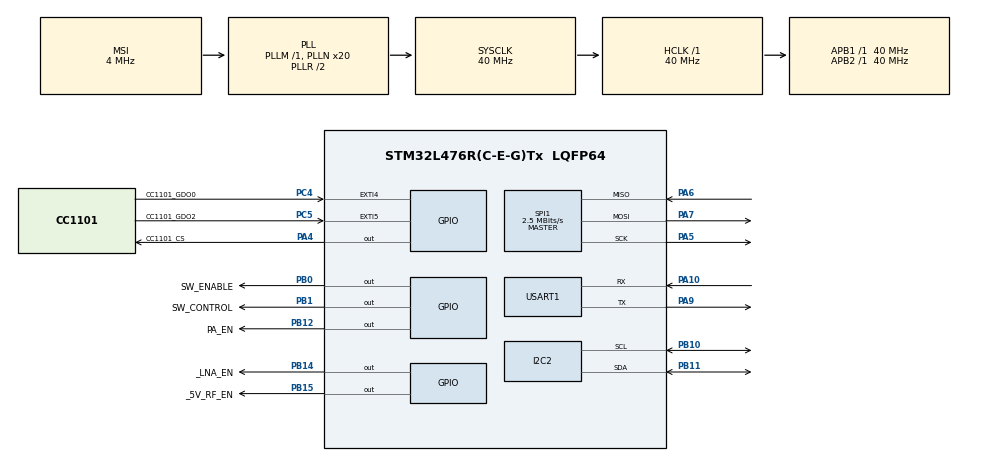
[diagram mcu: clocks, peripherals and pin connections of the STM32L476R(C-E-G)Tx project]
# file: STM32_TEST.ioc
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ADC1.Channel-52\#ChannelRegularConversion=ADC_CHANNEL_TEMPSENSOR
ADC1.Channel-53\#ChannelRegularConversion=ADC_CHANNEL_VBAT
ADC1.Channel-54\#ChannelRegularConversion=ADC_CHANNEL_VREFINT
ADC1.ClockPrescaler=ADC_CLOCK_ASYNC_DIV128
ADC1.ContinuousConvMode=DISABLE
ADC1.DMAContinuousRequests=DISABLE
ADC1.DataAlign=ADC_DATAALIGN_RIGHT
ADC1.DiscontinuousConvMode=DISABLE
ADC1.EOCSelection=ADC_EOC_SINGLE_CONV
ADC1.EnableAnalogWatchDog1=false
ADC1.EnableAnalogWatchDog2=false
ADC1.EnableAnalogWatchDog3=false
ADC1.EnableInjectedConversion=DISABLE
ADC1.EnableRegularConversion=ENABLE
ADC1.ExternalTrigConv=ADC_SOFTWARE_START
ADC1.ExternalTrigConvEdge=ADC_EXTERNALTRIGCONVEDGE_NONE
ADC1.LowPowerAutoWait=DISABLE
ADC1.NbrOfConversion=3
ADC1.NbrOfConversionFlag=1
ADC1.OffsetNumber-52\#ChannelRegularConversion=ADC_OFFSET_NONE
ADC1.OffsetNumber-53\#ChannelRegularConversion=ADC_OFFSET_NONE
ADC1.OffsetNumber-54\#ChannelRegularConversion=ADC_OFFSET_NONE
ADC1.Overrun=ADC_OVR_DATA_PRESERVED
ADC1.OversamplingMode=DISABLE
ADC1.Rank-52\#ChannelRegularConversion=1
ADC1.Rank-53\#ChannelRegularConversion=2
ADC1.Rank-54\#ChannelRegularConversion=3
ADC1.Resolution=ADC_RESOLUTION_12B
ADC1.SamplingTime-52\#ChannelRegularConversion=ADC_SAMPLETIME_640CYCLES_5
ADC1.SamplingTime-53\#ChannelRegularConversion=ADC_SAMPLETIME_640CYCLES_5
ADC1.SamplingTime-54\#ChannelRegularConversion=ADC_SAMPLETIME_640CYCLES_5
ADC1.ScanConvMode=ADC_SCAN_ENABLE
ADC1.master=1
Dma.ADC1.0.Direction=DMA_PERIPH_TO_MEMORY
Dma.ADC1.0.Instance=DMA1_Channel1
Dma.ADC1.0.MemDataAlignment=DMA_MDATAALIGN_HALFWORD
Dma.ADC1.0.MemInc=DMA_MINC_ENABLE
Dma.ADC1.0.Mode=DMA_NORMAL
Dma.ADC1.0.PeriphDataAlignment=DMA_PDATAALIGN_HALFWORD
Dma.ADC1.0.PeriphInc=DMA_PINC_DISABLE
Dma.ADC1.0.Priority=DMA_PRIORITY_LOW
Dma.Request0=ADC1
Dma.Request1=USART1_RX
Dma.Request2=USART1_TX
Dma.USART1_RX.1.Direction=DMA_PERIPH_TO_MEMORY
Dma.USART1_RX.1.Instance=DMA1_Channel5
Dma.USART1_RX.1.MemDataAlignment=DMA_MDATAALIGN_BYTE
Dma.USART1_RX.1.MemInc=DMA_MINC_ENABLE
Dma.USART1_RX.1.Mode=DMA_CIRCULAR
Dma.USART1_RX.1.PeriphDataAlignment=DMA_PDATAALIGN_BYTE
Dma.USART1_RX.1.PeriphInc=DMA_PINC_DISABLE
Dma.USART1_RX.1.Priority=DMA_PRIORITY_LOW
Dma.USART1_TX.2.Direction=DMA_MEMORY_TO_PERIPH
Dma.USART1_TX.2.Instance=DMA1_Channel4
Dma.USART1_TX.2.MemDataAlignment=DMA_MDATAALIGN_BYTE
Dma.USART1_TX.2.MemInc=DMA_MINC_ENABLE
Dma.USART1_TX.2.Mode=DMA_NORMAL
Dma.USART1_TX.2.PeriphDataAlignment=DMA_PDATAALIGN_BYTE
Dma.USART1_TX.2.PeriphInc=DMA_PINC_DISABLE
Dma.USART1_TX.2.Priority=DMA_PRIORITY_LOW
FREERTOS.INCLUDE_pcTaskGetTaskName=1
FREERTOS.INCLUDE_uxTaskGetStackHighWaterMark=1
FREERTOS.MEMORY_ALLOCATION=1
FREERTOS.Queues01=UartQueueTx,4096,uint8_t,NULL,Static,UartQueueTxBuffer,UartQueueTxControlBlock;UartQueueRx,4096,uint8_t,NULL,Static,UartQueueRxBuffer,UartQueueRxControlBlock
FREERTOS.Tasks01=ControlTask,0,512,ControlFunc,Default,NULL,Static,ControlTaskBuffer,ControlTaskControlBlock;CommsTask,2,1024,CommsFunc,Default,NULL,Static,CommsBuffer,CommsControlBlock;CommsTxTask,-1,256,CommsTxFunc,Default,NULL,Static,CommsTxBuffer,CommsTxControlBlock;InterfaceTask,2,512,InterfaceFunc,Default,NULL,Static,InterfaceBuffer,InterfaceControlBlock
FREERTOS.configGENERATE_RUN_TIME_STATS=0
FREERTOS.configLIBRARY_MAX_SYSCALL_INTERRUPT_PRIORITY=5
FREERTOS.configUSE_STATS_FORMATTING_FUNCTIONS=0
FREERTOS.configUSE_TICKLESS_IDLE=1
FREERTOS.configUSE_TRACE_FACILITY=0
I2C2.I2C_Fall_Time=0
I2C2.I2C_Rise_Time=0
I2C2.Speed=100
I2C2.Timing=0x00909BEB
Mcu.Family=STM32L4
Mcu.Name=STM32L476R(C-E-G)Tx
Mcu.Package=LQFP64
NVIC.DMA1_Channel1_IRQn=true\:5\:0\:false\:false\:true\:true
NVIC.DMA1_Channel4_IRQn=true\:5\:0\:false\:false\:true\:true
NVIC.DMA1_Channel5_IRQn=true\:5\:0\:false\:false\:true\:true
NVIC.EXTI4_IRQn=true\:10\:0\:true\:false\:true\:true
NVIC.EXTI9_5_IRQn=true\:10\:0\:true\:false\:true\:true
NVIC.PriorityGroup=NVIC_PRIORITYGROUP_4
NVIC.SPI1_IRQn=true\:5\:0\:true\:false\:true\:true
NVIC.TIM1_TRG_COM_TIM17_IRQn=true\:0\:0\:false\:false\:true\:false
NVIC.TimeBase=TIM1_TRG_COM_TIM17_IRQn
NVIC.TimeBaseIP=TIM17
NVIC.USART1_IRQn=true\:5\:0\:false\:false\:true\:true
PA10.Mode=Asynchronous
PA10.Signal=USART1_RX
PA4.GPIO_Label=CC1101_CS
PA4.PinState=GPIO_PIN_SET
PA4.Signal=GPIO_Output
PA5.Mode=Full_Duplex_Master
PA5.Signal=SPI1_SCK
PA6.Mode=Full_Duplex_Master
PA6.Signal=SPI1_MISO
PA7.Mode=Full_Duplex_Master
PA7.Signal=SPI1_MOSI
PA9.Mode=Asynchronous
PA9.Signal=USART1_TX
PB0.GPIO_Label=SW_ENABLE
PB0.PinState=GPIO_PIN_SET
PB0.Signal=GPIO_Output
PB1.GPIO_Label=SW_CONTROL
PB1.PinState=GPIO_PIN_SET
PB1.Signal=GPIO_Output
PB10.GPIO_PuPdOD=GPIO_PULLUP
PB10.Mode=I2C
PB10.Signal=I2C2_SCL
PB11.GPIO_PuPdOD=GPIO_PULLUP
PB11.Mode=I2C
PB11.Signal=I2C2_SDA
PB12.GPIO_Label=PA_EN
PB12.Signal=GPIO_Output
PB14.GPIO_Label=_LNA_EN
PB14.Signal=GPIO_Output
PB15.GPIO_Label=_5V_RF_EN
PB15.Signal=GPIO_Output
PC4.GPIO_Label=CC1101_GDO0
PC4.GPIO_ModeDefaultEXTI=GPIO_MODE_IT_RISING_FALLING
PC4.Signal=GPXTI4
PC5.GPIO_Label=CC1101_GDO2
PC5.GPIO_ModeDefaultEXTI=GPIO_MODE_IT_RISING_FALLING
PC5.Signal=GPXTI5
ProjectManager.HeapSize=0x200
ProjectManager.StackSize=0x400
ProjectManager.TargetToolchain=SW4STM32
RCC.ADCFreq_Value=32000000
RCC.AHBFreq_Value=40000000
RCC.APB1Freq_Value=40000000
RCC.APB1TimFreq_Value=40000000
RCC.APB2Freq_Value=40000000
RCC.APB2TimFreq_Value=40000000
RCC.CortexFreq_Value=40000000
RCC.HCLKFreq_Value=40000000
RCC.HSE_VALUE=8000000
RCC.HSI_VALUE=16000000
RCC.LSE_VALUE=32768
RCC.MSI_VALUE=4000000
RCC.PLLN=20
RCC.PLLSAI1N=16
RCC.SYSCLKFreq_VALUE=40000000
RCC.SYSCLKSource=RCC_SYSCLKSOURCE_PLLCLK
RCC.USBFreq_Value=32000000
RCC.VCOOutputFreq_Value=80000000
RCC.VDD_VALUE=3
SPI1.BaudRatePrescaler=SPI_BAUDRATEPRESCALER_16
SPI1.CalculateBaudRate=2.5 MBits/s
SPI1.DataSize=SPI_DATASIZE_8BIT
SPI1.Direction=SPI_DIRECTION_2LINES
SPI1.Mode=SPI_MODE_MASTER
SPI1.VirtualType=VM_MASTER
USART1.VirtualMode-Asynchronous=VM_ASYNC
USART1.WordLength=WORDLENGTH_8B
VP_ADC1_TempSens_Input.Mode=IN-TempSens
VP_ADC1_Vbat_Input.Mode=IN-Vbat
VP_ADC1_Vref_Input.Mode=IN-Vrefint
VP_FREERTOS_VS_ENABLE.Mode=Enabled
VP_SYS_VS_tim17.Mode=TIM17
board=STM32_TEST

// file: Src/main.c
/**
  ******************************************************************************
  * File Name          : main.c
  * Description        : Main program body
  ******************************************************************************
  * This notice applies to any and all portions of this file
  * that are not between comment pairs USER CODE BEGIN and
  * USER CODE END. Other portions of this file, whether
  * inserted by the user or by software development tools
  * are owned by their respective copyright owners.
  *
  * Copyright (c) 2017 STMicroelectronics International N.V.
  * All rights reserved.
  *
  * Redistribution and use in source and binary forms, with or without
  * modification, are permitted, provided that the following conditions are met:
  *
  * 1. Redistribution of source code must retain the above copyright notice,
  *    this list of conditions and the following disclaimer.
  * 2. Redistributions in binary form must reproduce the above copyright notice,
  *    this list of conditions and the following disclaimer in the documentation
  *    and/or other materials provided with the distribution.
  * 3. Neither the name of STMicroelectronics nor the names of other
  *    contributors to this software may be used to endorse or promote products
  *    derived from this software without specific written permission.
  * 4. This software, including modifications and/or derivative works of this
  *    software, must execute solely and exclusively on microcontroller or
  *    microprocessor devices manufactured by or for STMicroelectronics.
  * 5. Redistribution and use of this software other than as permitted under
  *    this license is void and will automatically terminate your rights under
  *    this license.
  *
  * THIS SOFTWARE IS PROVIDED BY STMICROELECTRONICS AND CONTRIBUTORS "AS IS"
  * AND ANY EXPRESS, IMPLIED OR STATUTORY WARRANTIES, INCLUDING, BUT NOT
  * LIMITED TO, THE IMPLIED WARRANTIES OF MERCHANTABILITY, FITNESS FOR A
  * PARTICULAR PURPOSE AND NON-INFRINGEMENT OF THIRD PARTY INTELLECTUAL PROPERTY
  * RIGHTS ARE DISCLAIMED TO THE FULLEST EXTENT PERMITTED BY LAW. IN NO EVENT
  * SHALL STMICROELECTRONICS OR CONTRIBUTORS BE LIABLE FOR ANY DIRECT, INDIRECT,
  * INCIDENTAL, SPECIAL, EXEMPLARY, OR CONSEQUENTIAL DAMAGES (INCLUDING, BUT NOT
  * LIMITED TO, PROCUREMENT OF SUBSTITUTE GOODS OR SERVICES; LOSS OF USE, DATA,
  * OR PROFITS; OR BUSINESS INTERRUPTION) HOWEVER CAUSED AND ON ANY THEORY OF
  * LIABILITY, WHETHER IN CONTRACT, STRICT LIABILITY, OR TORT (INCLUDING
  * NEGLIGENCE OR OTHERWISE) ARISING IN ANY WAY OUT OF THE USE OF THIS SOFTWARE,
  * EVEN IF ADVISED OF THE POSSIBILITY OF SUCH DAMAGE.
  *
  ******************************************************************************
  */
#include "main.h"
#include "stm32l4xx_hal.h"
#include "cmsis_os.h"
#include "adc.h"
#include "dma.h"
#include "i2c.h"
#include "spi.h"
#include "usart.h"
#include "gpio.h"

/* USER CODE BEGIN Includes */

#include "cc1101_routine.h"
#include "command_parser.h"
#include "utils.h"
#include "of_reed-solomon_gf_2_m.h"
#include "link_layer.h"
#include "simple_link.h"
#include "eeprom.h"
#include "housekeeping.h"

/* USER CODE END Includes */

/* USER CODE BEGIN PV */
/* Private variables ---------------------------------------------------------*/

/* USER CODE END PV */

void SystemClock_Config(void);
void MX_FREERTOS_Init(void);

/* USER CODE BEGIN PFP */
/* Private function prototypes -----------------------------------------------*/

/* USER CODE END PFP */

int main(void)
{

  /* MCU Configuration----------------------------------------------------------*/

  /* Reset of all peripherals, Initializes the Flash interface and the Systick. */
  HAL_Init();

  /* Configure the system clock */
  SystemClock_Config();

  /* Initialize all configured peripherals */
  MX_GPIO_Init();
  MX_DMA_Init();
  MX_SPI1_Init();
  MX_I2C2_Init();
  MX_ADC1_Init();
  MX_USART1_UART_Init();

  /* Call init function for freertos objects (in freertos.c) */
  MX_FREERTOS_Init();

  /* Start scheduler */
  osKernelStart();

  /* We should never get here as control is now taken by the scheduler */

  /* Infinite loop */
  while (1)
  {

  }

}

/** System Clock Configuration
*/
void SystemClock_Config(void)
{

  RCC_OscInitTypeDef RCC_OscInitStruct;
  RCC_ClkInitTypeDef RCC_ClkInitStruct;
  RCC_PeriphCLKInitTypeDef PeriphClkInit;

    /**Initializes the CPU, AHB and APB busses clocks
    */
  RCC_OscInitStruct.OscillatorType = RCC_OSCILLATORTYPE_MSI;
  RCC_OscInitStruct.MSIState = RCC_MSI_ON;
  RCC_OscInitStruct.MSICalibrationValue = 0;
  RCC_OscInitStruct.MSIClockRange = RCC_MSIRANGE_6;
  RCC_OscInitStruct.PLL.PLLState = RCC_PLL_ON;
  RCC_OscInitStruct.PLL.PLLSource = RCC_PLLSOURCE_MSI;
  RCC_OscInitStruct.PLL.PLLM = 1;
  RCC_OscInitStruct.PLL.PLLN = 20;
  RCC_OscInitStruct.PLL.PLLP = RCC_PLLP_DIV7;
  RCC_OscInitStruct.PLL.PLLQ = RCC_PLLQ_DIV2;
  RCC_OscInitStruct.PLL.PLLR = RCC_PLLR_DIV2;
  if (HAL_RCC_OscConfig(&RCC_OscInitStruct) != HAL_OK)
  {
    _Error_Handler(__FILE__, __LINE__);
  }

    /**Initializes the CPU, AHB and APB busses clocks
    */
  RCC_ClkInitStruct.ClockType = RCC_CLOCKTYPE_HCLK|RCC_CLOCKTYPE_SYSCLK
                              |RCC_CLOCKTYPE_PCLK1|RCC_CLOCKTYPE_PCLK2;
  RCC_ClkInitStruct.SYSCLKSource = RCC_SYSCLKSOURCE_PLLCLK;
  RCC_ClkInitStruct.AHBCLKDivider = RCC_SYSCLK_DIV1;
  RCC_ClkInitStruct.APB1CLKDivider = RCC_HCLK_DIV1;
  RCC_ClkInitStruct.APB2CLKDivider = RCC_HCLK_DIV1;

  if (HAL_RCC_ClockConfig(&RCC_ClkInitStruct, FLASH_LATENCY_2) != HAL_OK)
  {
    _Error_Handler(__FILE__, __LINE__);
  }

  PeriphClkInit.PeriphClockSelection = RCC_PERIPHCLK_USART1|RCC_PERIPHCLK_I2C2
                              |RCC_PERIPHCLK_ADC;
  PeriphClkInit.Usart1ClockSelection = RCC_USART1CLKSOURCE_PCLK2;
  PeriphClkInit.I2c2ClockSelection = RCC_I2C2CLKSOURCE_PCLK1;
  PeriphClkInit.AdcClockSelection = RCC_ADCCLKSOURCE_PLLSAI1;
  PeriphClkInit.PLLSAI1.PLLSAI1Source = RCC_PLLSOURCE_MSI;
  PeriphClkInit.PLLSAI1.PLLSAI1M = 1;
  PeriphClkInit.PLLSAI1.PLLSAI1N = 16;
  PeriphClkInit.PLLSAI1.PLLSAI1P = RCC_PLLP_DIV7;
  PeriphClkInit.PLLSAI1.PLLSAI1Q = RCC_PLLQ_DIV2;
  PeriphClkInit.PLLSAI1.PLLSAI1R = RCC_PLLR_DIV2;
  PeriphClkInit.PLLSAI1.PLLSAI1ClockOut = RCC_PLLSAI1_ADC1CLK;
  if (HAL_RCCEx_PeriphCLKConfig(&PeriphClkInit) != HAL_OK)
  {
    _Error_Handler(__FILE__, __LINE__);
  }

    /**Configure the main internal regulator output voltage
    */
  if (HAL_PWREx_ControlVoltageScaling(PWR_REGULATOR_VOLTAGE_SCALE1) != HAL_OK)
  {
    _Error_Handler(__FILE__, __LINE__);
  }

    /**Configure the Systick interrupt time
    */
  HAL_SYSTICK_Config(HAL_RCC_GetHCLKFreq()/1000);

    /**Configure the Systick
    */
  HAL_SYSTICK_CLKSourceConfig(SYSTICK_CLKSOURCE_HCLK);

  /* SysTick_IRQn interrupt configuration */
  HAL_NVIC_SetPriority(SysTick_IRQn, 15, 0);
}

void HAL_TIM_PeriodElapsedCallback(TIM_HandleTypeDef *htim)
{
  if (htim->Instance == TIM17) {
    HAL_IncTick();
  }
}

void _Error_Handler(char * file, int line)
{
  while(1)
  {
  }
}

/************************ (C) COPYRIGHT STMicroelectronics *****END OF FILE****/

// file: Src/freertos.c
/**
  ******************************************************************************
  * File Name          : freertos.c
  * Description        : Code for freertos applications
  ******************************************************************************
  * This notice applies to any and all portions of this file
  * that are not between comment pairs USER CODE BEGIN and
  * USER CODE END. Other portions of this file, whether
  * inserted by the user or by software development tools
  * are owned by their respective copyright owners.
  *
  * Copyright (c) 2017 STMicroelectronics International N.V.
  * All rights reserved.
  *
  * Redistribution and use in source and binary forms, with or without
  * modification, are permitted, provided that the following conditions are met:
  *
  * 1. Redistribution of source code must retain the above copyright notice,
  *    this list of conditions and the following disclaimer.
  * 2. Redistributions in binary form must reproduce the above copyright notice,
  *    this list of conditions and the following disclaimer in the documentation
  *    and/or other materials provided with the distribution.
  * 3. Neither the name of STMicroelectronics nor the names of other
  *    contributors to this software may be used to endorse or promote products
  *    derived from this software without specific written permission.
  * 4. This software, including modifications and/or derivative works of this
  *    software, must execute solely and exclusively on microcontroller or
  *    microprocessor devices manufactured by or for STMicroelectronics.
  * 5. Redistribution and use of this software other than as permitted under
  *    this license is void and will automatically terminate your rights under
  *    this license.
  *
  * THIS SOFTWARE IS PROVIDED BY STMICROELECTRONICS AND CONTRIBUTORS "AS IS"
  * AND ANY EXPRESS, IMPLIED OR STATUTORY WARRANTIES, INCLUDING, BUT NOT
  * LIMITED TO, THE IMPLIED WARRANTIES OF MERCHANTABILITY, FITNESS FOR A
  * PARTICULAR PURPOSE AND NON-INFRINGEMENT OF THIRD PARTY INTELLECTUAL PROPERTY
  * RIGHTS ARE DISCLAIMED TO THE FULLEST EXTENT PERMITTED BY LAW. IN NO EVENT
  * SHALL STMICROELECTRONICS OR CONTRIBUTORS BE LIABLE FOR ANY DIRECT, INDIRECT,
  * INCIDENTAL, SPECIAL, EXEMPLARY, OR CONSEQUENTIAL DAMAGES (INCLUDING, BUT NOT
  * LIMITED TO, PROCUREMENT OF SUBSTITUTE GOODS OR SERVICES; LOSS OF USE, DATA,
  * OR PROFITS; OR BUSINESS INTERRUPTION) HOWEVER CAUSED AND ON ANY THEORY OF
  * LIABILITY, WHETHER IN CONTRACT, STRICT LIABILITY, OR TORT (INCLUDING
  * NEGLIGENCE OR OTHERWISE) ARISING IN ANY WAY OUT OF THE USE OF THIS SOFTWARE,
  * EVEN IF ADVISED OF THE POSSIBILITY OF SUCH DAMAGE.
  *
  ******************************************************************************
  */

#include "FreeRTOS.h"
#include "task.h"
#include "cmsis_os.h"

/* USER CODE BEGIN Includes */

#include "cc1101_routine.h"
#include "command_parser.h"
#include "housekeeping.h"

#include <string.h>
#include <stdlib.h>

/* USER CODE END Includes */

osThreadId ControlTaskHandle;
uint32_t ControlTaskBuffer[ 256 ];
osStaticThreadDef_t ControlTaskControlBlock;

osThreadId CommsTaskHandle;
uint32_t CommsBuffer[ 768 ];
osStaticThreadDef_t CommsControlBlock;

osThreadId CommsTxTaskHandle;
uint32_t CommsTxBuffer[ 256 ];
osStaticThreadDef_t CommsTxControlBlock;

osThreadId InterfaceTaskHandle;
uint32_t InterfaceBuffer[ 256 ];
osStaticThreadDef_t InterfaceControlBlock;

osMessageQId UartQueueTxHandle;
uint8_t UartQueueTxBuffer[ 8192 * sizeof( uint8_t ) ];
osStaticMessageQDef_t UartQueueTxControlBlock;

osMessageQId UartQueueRxHandle;
uint8_t UartQueueRxBuffer[ 8192 * sizeof( uint8_t ) ];
osStaticMessageQDef_t UartQueueRxControlBlock;

/* USER CODE BEGIN Variables */
simple_link_packet_t LinkLayerRxBuffer[ 12 ];
osStaticMessageQDef_t LinkLayerRxControlBlock;
osMessageQId LinkLayerRxQueueHandle;

simple_link_packet_t RadioPacketTxBuffer[ 4 ];
osStaticMessageQDef_t RadioPacketTxControlBlock;
osMessageQId RadioPacketTxQueueHandle;

simple_link_packet_t ControlPacketBuffer[ 2 ];
osStaticMessageQDef_t ControlPacketControlBlock;
osMessageQId ControlPacketQueueHandle;

osStaticMutexDef_t SimpleLinkMutexControlBlock;
osMutexId SimpleLinkMutexHandle;

osThreadId 	tasks_ids[4];
uint32_t 	tasks_full_stack[4];

static simple_link_packet_t control_packet;
static comms_hk_data_t comms_data;

/* USER CODE END Variables */

void ControlFunc(void const * argument);
void CommsFunc(void const * argument);
void CommsTxFunc(void const * argument);
void InterfaceFunc(void const * argument);

void MX_FREERTOS_Init(void); /* (MISRA C 2004 rule 8.1) */

/* USER CODE BEGIN FunctionPrototypes */
static void GetModuleHKData(comms_hk_data_t *data);
/* USER CODE END FunctionPrototypes */

/* Pre/Post sleep processing prototypes */
void PreSleepProcessing(uint32_t *ulExpectedIdleTime);
void PostSleepProcessing(uint32_t *ulExpectedIdleTime);

/* GetIdleTaskMemory prototype (linked to static allocation support) */
void vApplicationGetIdleTaskMemory( StaticTask_t **ppxIdleTaskTCBBuffer, StackType_t **ppxIdleTaskStackBuffer, uint32_t *pulIdleTaskStackSize );

/* Hook prototypes */

/* USER CODE BEGIN PREPOSTSLEEP */
__weak void PreSleepProcessing(uint32_t *ulExpectedIdleTime)
{
/* place for user code */
}

__weak void PostSleepProcessing(uint32_t *ulExpectedIdleTime)
{
/* place for user code */
}
/* USER CODE END PREPOSTSLEEP */

/* USER CODE BEGIN GET_IDLE_TASK_MEMORY */
static StaticTask_t xIdleTaskTCBBuffer;
static StackType_t xIdleStack[configMINIMAL_STACK_SIZE];

void vApplicationGetIdleTaskMemory( StaticTask_t **ppxIdleTaskTCBBuffer, StackType_t **ppxIdleTaskStackBuffer, uint32_t *pulIdleTaskStackSize )
{
  *ppxIdleTaskTCBBuffer = &xIdleTaskTCBBuffer;
  *ppxIdleTaskStackBuffer = &xIdleStack[0];
  *pulIdleTaskStackSize = configMINIMAL_STACK_SIZE;
  /* place for user code */
}
/* USER CODE END GET_IDLE_TASK_MEMORY */

/* Init FreeRTOS */

void MX_FREERTOS_Init(void) {

  /* USER CODE BEGIN RTOS_MUTEX */
  /* add mutexes, ... */
  osMutexStaticDef(SimpleLinkMutex, &SimpleLinkMutexControlBlock);
  SimpleLinkMutexHandle = osMutexCreate(osMutex(SimpleLinkMutex));
  /* USER CODE END RTOS_MUTEX */

  /* Create the thread(s) */
  /* definition and creation of ControlTask */
  osThreadStaticDef(ControlTask, ControlFunc, osPriorityNormal, 0, 256, ControlTaskBuffer, &ControlTaskControlBlock);
  ControlTaskHandle = osThreadCreate(osThread(ControlTask), NULL);

  /* definition and creation of CommsTask */
  osThreadStaticDef(CommsTask, CommsFunc, osPriorityHigh, 0, 768, CommsBuffer, &CommsControlBlock);
  CommsTaskHandle = osThreadCreate(osThread(CommsTask), NULL);

  /* definition and creation of CommsTxTask */
  osThreadStaticDef(CommsTxTask, CommsTxFunc, osPriorityBelowNormal, 0, 256, CommsTxBuffer, &CommsTxControlBlock);
  CommsTxTaskHandle = osThreadCreate(osThread(CommsTxTask), NULL);

  /* definition and creation of InterfaceTask */
  osThreadStaticDef(InterfaceTask, InterfaceFunc, osPriorityHigh, 0, 256, InterfaceBuffer, &InterfaceControlBlock);
  InterfaceTaskHandle = osThreadCreate(osThread(InterfaceTask), NULL);

  /* Create the queue(s) */
  /* definition and creation of UartQueueTx */
  osMessageQStaticDef(UartQueueTx, 4096, uint8_t, UartQueueTxBuffer, &UartQueueTxControlBlock);
  UartQueueTxHandle = osMessageCreate(osMessageQ(UartQueueTx), NULL);

  /* definition and creation of UartQueueRx */
  osMessageQStaticDef(UartQueueRx, 4096, uint8_t, UartQueueRxBuffer, &UartQueueRxControlBlock);
  UartQueueRxHandle = osMessageCreate(osMessageQ(UartQueueRx), NULL);

  /* USER CODE BEGIN RTOS_QUEUES */
  /* add queues, ... */

  osMessageQStaticDef(linkrxqueue, 6, simple_link_packet_t, LinkLayerRxBuffer, &LinkLayerRxControlBlock);
  LinkLayerRxQueueHandle = osMessageCreate(osMessageQ(linkrxqueue), NULL);

  osMessageQStaticDef(radiotxqueue, 2, simple_link_packet_t, RadioPacketTxBuffer, &RadioPacketTxControlBlock);
  RadioPacketTxQueueHandle = osMessageCreate(osMessageQ(radiotxqueue), NULL);

  osMessageQStaticDef(controlqueue, 2, simple_link_packet_t, ControlPacketBuffer, &ControlPacketControlBlock);
  ControlPacketQueueHandle = osMessageCreate(osMessageQ(controlqueue), NULL);

  initialize_rs_coder();
  initialize_cc1101();
  usart_init_rx();
  usart_init_tx();
  /* USER CODE END RTOS_QUEUES */
}

/* ControlFunc function */
void ControlFunc(void const * argument)
{

  /* USER CODE BEGIN ControlFunc */
  /* Infinite loop */

	int ret;
	check_for_printf_buffer();

	tasks_ids[0] = ControlTaskHandle;
	tasks_ids[1] = CommsTaskHandle;
	tasks_ids[2] = CommsTxTaskHandle;
	tasks_ids[3] = InterfaceTaskHandle;

	tasks_full_stack[0] = (sizeof(ControlTaskBuffer)/sizeof(uint32_t));
	tasks_full_stack[1] = (sizeof(CommsBuffer)/sizeof(uint32_t));
	tasks_full_stack[2] = (sizeof(CommsTxBuffer)/sizeof(uint32_t));
	tasks_full_stack[3] = (sizeof(InterfaceBuffer)/sizeof(uint32_t));

	init_housekeeping();
	/* Just OSDelay here to set all variables up */
	osDelay(1);
	for(;;) {
		if (xQueueReceive(ControlPacketQueueHandle, &control_packet, 5000) == pdTRUE) {
			/* Control packet asks for GetModuleHKData */
			GetModuleHKData(&comms_data);
			ret = set_simple_link_packet(&comms_data, sizeof(comms_data), configuration_frame, 0, &control_packet);
			send_kiss_packet(0, &control_packet, ret);
		}
	}
  /* USER CODE END ControlFunc */
}

/* CommsFunc function */
void CommsFunc(void const * argument)
{
  /* USER CODE BEGIN CommsFunc */
  /* Infinite loop */
	check_for_printf_buffer();
    osDelay(1);
    cc1101_work();
  /* USER CODE END CommsFunc */
}

/* CommsTxFunc function */
void CommsTxFunc(void const * argument)
{
  /* USER CODE BEGIN CommsTxFunc */
  /* Infinite loop */
	check_for_printf_buffer();
	osDelay(1);
	csma_tx_work();
  /* USER CODE END CommsTxFunc */
}

/* InterfaceFunc function */
void InterfaceFunc(void const * argument)
{
  /* USER CODE BEGIN InterfaceFunc */
  /* Infinite loop */
	check_for_printf_buffer();
    osDelay(1);
    usart_work();
  /* USER CODE END InterfaceFunc */
}

/* USER CODE BEGIN Application */

void ReturnHKData(comms_hk_data_t *data)
{
	taskENTER_CRITICAL();
	memcpy(data, &comms_data, sizeof(comms_hk_data_t));
	taskEXIT_CRITICAL();
}

void GetModuleHKData(comms_hk_data_t *data)
{
	int i;
	cc1101_external_info_t cc1101_info;

	refresh_housekeeping();
	data->housekeeping.ext_temp = convert_temp_f_u16(get_external_temperature());
	data->housekeeping.int_temp = convert_temp_f_u16(get_internal_temperature());
	for (i = 0; i < 4; i++) {
			data->control.free_stack[i] = uxTaskGetStackHighWaterMark(tasks_ids[i]);
		}
	for (i = 0; i < 4; i++) {
		data->control.used_stack[i] = tasks_full_stack[i] - data->control.free_stack[i];
	}
	taskENTER_CRITICAL();
	data->housekeeping.ll_rx_packets = link_layer_info.decoded_packets;
	data->housekeeping.ll_tx_packets = link_layer_info.encoded_packets;
	get_cc1101_statistics(&cc1101_info);
	taskEXIT_CRITICAL();

	data->control.tx_remaining = uxQueueSpacesAvailable(RadioPacketTxQueueHandle);
	data->control.rx_queued = uxQueueMessagesWaiting(LinkLayerRxQueueHandle);

	data->housekeeping.phy_tx_failed_packets = cc1101_info.packet_not_tx_count%65536;
	data->housekeeping.phy_rx_packets = cc1101_info.packet_rx_count;
	data->housekeeping.phy_rx_errors = cc1101_info.packet_errors_corrected%65536;
	data->housekeeping.phy_tx_packets = cc1101_info.packet_tx_count;

	data->housekeeping.last_rssi = cc1101_info.last_rssi;
	data->housekeeping.last_lqi = cc1101_info.last_lqi;
	data->housekeeping.actual_rssi = cc1101_info.actual_rssi;
	data->housekeeping.transmit_power = 0;

}
/* USER CODE END Application */

/************************ (C) COPYRIGHT STMicroelectronics *****END OF FILE****/
